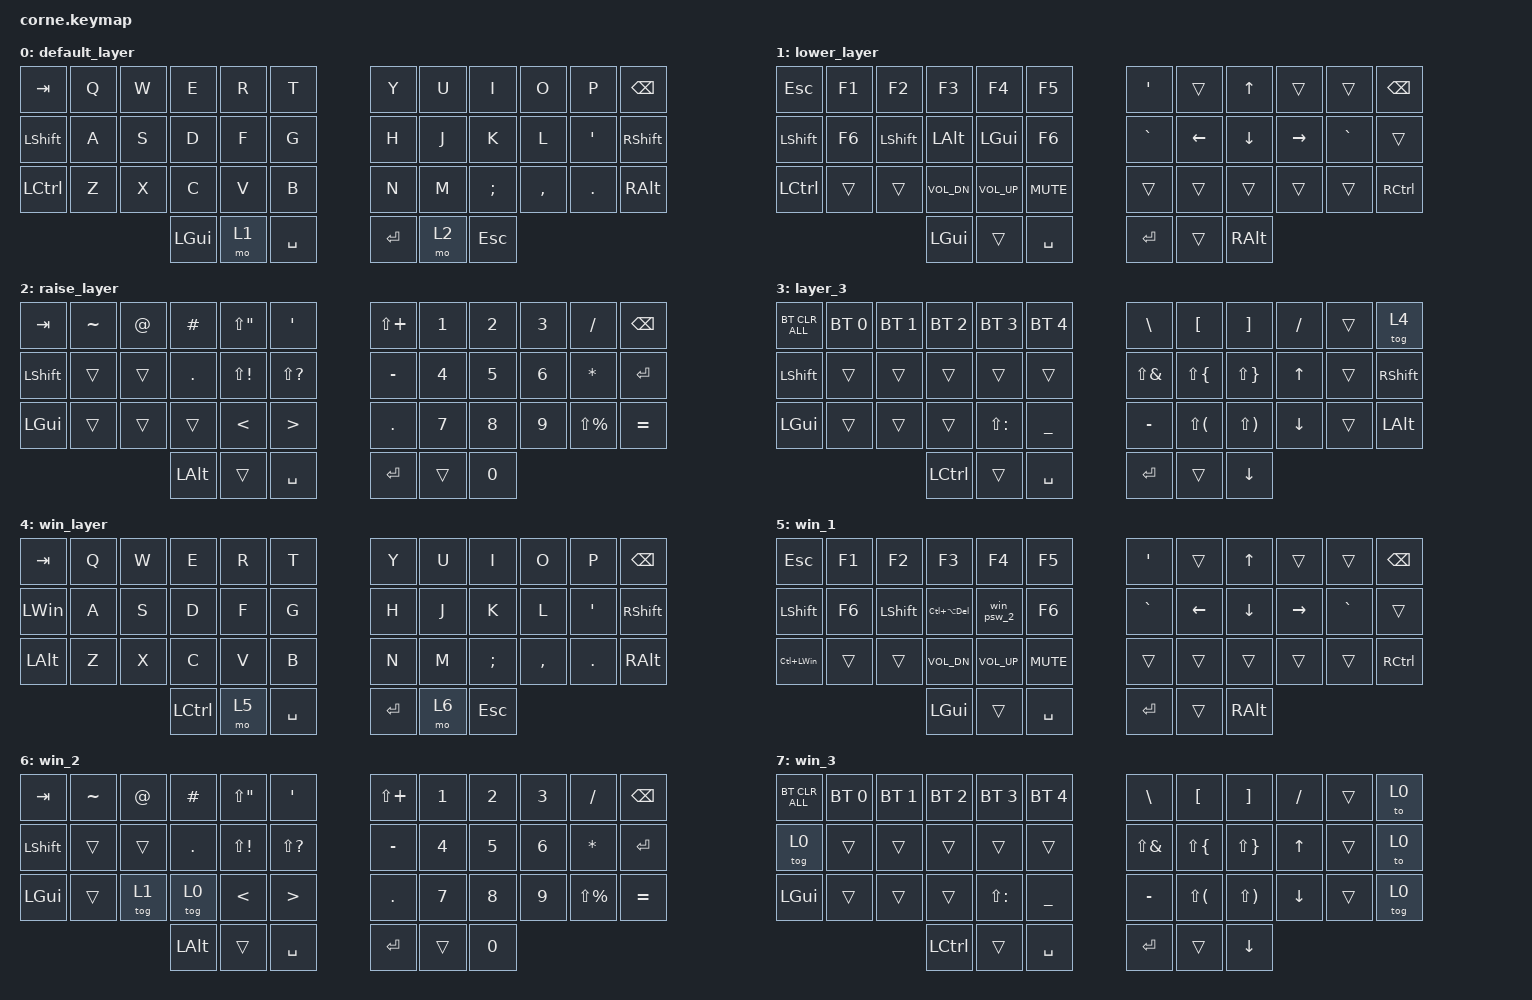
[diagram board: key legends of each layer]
/*
 * Copyright (c) 2020 The ZMK Contributors
 * h
 * SPDX-License-Identifier: MIT
 */

#include <behaviors.dtsi>
#include <dt-bindings/zmk/bt.h>
#include <dt-bindings/zmk/keys.h>

/ {
    macros {
        win_psw: win_psw {
            compatible = "zmk,behavior-macro";
            #binding-cells = <0>;
            bindings = <&kp LS(I) &kp T &kp X &kp W &kp B &kp T &kp AT &kp P &kp A &kp Y &kp N2 &kp N5 &kp N0 &kp N1>;
            label = "WIN_PSW";
        };

        win_psw_2: win_psw_2 {
            compatible = "zmk,behavior-macro";
            #binding-cells = <0>;
            bindings = <&none &kp LS(T) &kp E &kp M &kp P &kp O &kp R &kp A &kp L &kp N2 &kp N0 &kp N2 &kp N6 &kp EXCL>;
            label = "WIN_PSW_2";
        };
    };

    keymap {
        compatible = "zmk,keymap";

        default_layer {
            // -----------------------------------------------------------------------------------------
            // |  TAB |  Q  |  W  |  E  |  R  |  T  |   |  Y  |  U   |  I  |  O  |  P  | BSPC |
            // | LSHIFT |  A  |  S  |  D  |  F  |  G  |   |  H  |  J   |  K  |  L  |  ;  |  '   |
            // | LWIN |  Z  |  X  |  C  |  V  |  B  |   |  N  |  M   |  ,  |  .  |  /  | RALT  |
            //                    | LCTRL | LWR | SPC |   | ENT | RSE  | ESC |

            bindings = <
&kp TAB    &kp Q  &kp W  &kp E     &kp R  &kp T        &kp Y    &kp U  &kp I     &kp O      &kp P    &kp BSPC
&kp LSHFT  &kp A  &kp S  &kp D     &kp F  &kp G        &kp H    &kp J  &kp K     &kp L      &kp SQT  &kp RSHFT
&kp LCTRL  &kp Z  &kp X  &kp C     &kp V  &kp B        &kp N    &kp M  &kp SEMI  &kp COMMA  &kp DOT  &kp RALT
                         &kp LGUI  &mo 1  &kp SPACE    &kp RET  &mo 2  &kp ESC
            >;
        };

        lower_layer {
            // -----------------------------------------------------------------------------------------
            // |  TAB |  1  |  2  |  3  |  4  |  5  |   |  6  |  7  |  8  |  9  |  0  | BSPC |
            // | BTCLR| BT1 | BT2 | BT3 | BT4 | BT5 |   | LFT | DWN |  UP | RGT |     |      |
            // | SHFT |     |     |     |     |     |   |     |     |     |     |     |      |
            //                    | GUI |     | SPC |   | ENT |     | ALT |

            bindings = <
&kp ESC           &kp F1  &kp F2     &kp F3        &kp F4        &kp F5        &kp APOS   &trans    &kp UP    &trans     &trans     &kp BSPC
&kp LSHFT         &kp F6  &kp LSHFT  &kp LALT      &kp LGUI      &kp F6        &kp GRAVE  &kp LEFT  &kp DOWN  &kp RIGHT  &kp GRAVE  &trans
&kp LEFT_CONTROL  &trans  &trans     &kp K_VOL_DN  &kp K_VOL_UP  &kp K_MUTE    &trans     &trans    &trans    &trans     &trans     &kp RCTRL
                                     &kp LGUI      &trans        &kp SPACE     &kp RET    &trans    &kp RALT
            >;
        };

        raise_layer {
            // -----------------------------------------------------------------------------------------
            // |  TAB |  !  |  @  |  #  |  $  |  %  |   |  ^  |  &  |  *  |  (  |  )  | BSPC |
            // | CTRL |     |     |     |     |     |   |  -  |  =  |  [  |  ]  |  \  |  `   |
            // | SHFT |     |     |     |     |     |   |  _  |  +  |  {  |  }  | "|" |  ~   |
            //                    | GUI |     | SPC |   | ENT |     | ALT |

            bindings = <
&kp TAB    &kp TILDE  &kp AT  &kp HASH  &kp LS(DQT)   &kp SQT          &kp LS(PLUS)  &kp N1  &kp N2  &kp N3  &kp FSLH       &kp BSPC
&kp LSHFT  &trans     &trans  &kp DOT   &kp LS(EXCL)  &kp LS(QMARK)    &kp MINUS     &kp N4  &kp N5  &kp N6  &kp STAR       &kp RET
&kp LGUI   &trans     &trans  &trans    &kp LT        &kp GT           &kp DOT       &kp N7  &kp N8  &kp N9  &kp LS(PRCNT)  &kp EQUAL
                              &kp LALT  &trans        &kp SPACE        &kp RET       &trans  &kp N0
            >;
        };

        layer_3 {
            bindings = <
&bt BT_CLR_ALL  &bt BT_SEL 0  &bt BT_SEL 1  &bt BT_SEL 2  &bt BT_SEL 3   &bt BT_SEL 4    &kp BSLH      &kp LBKT      &kp RBKT      &kp FSLH  &trans  &tog 4
&kp LEFT_SHIFT  &trans        &trans        &trans        &trans         &trans          &kp LS(AMPS)  &kp LS(LBRC)  &kp LS(RBRC)  &kp UP    &trans  &kp RSHFT
&kp LGUI        &trans        &trans        &trans        &kp LS(COLON)  &kp UNDER       &kp MINUS     &kp LS(LPAR)  &kp LS(RPAR)  &kp DOWN  &trans  &kp LALT
                                            &kp LCTRL     &trans         &kp SPACE       &kp RET       &trans        &kp DOWN
            >;
        };

        win_layer {
            bindings = <
&kp TAB       &kp Q  &kp W  &kp E             &kp R  &kp T        &kp Y    &kp U  &kp I     &kp O      &kp P    &kp BSPC
&kp LEFT_WIN  &kp A  &kp S  &kp D             &kp F  &kp G        &kp H    &kp J  &kp K     &kp L      &kp SQT  &kp RSHFT
&kp LEFT_ALT  &kp Z  &kp X  &kp C             &kp V  &kp B        &kp N    &kp M  &kp SEMI  &kp COMMA  &kp DOT  &kp RALT
                            &kp LEFT_CONTROL  &mo 5  &kp SPACE    &kp RET  &mo 6  &kp ESC
            >;
        };

        win_1 {
            bindings = <
&kp ESC           &kp F1  &kp F2     &kp F3              &kp F4        &kp F5        &kp APOS   &trans    &kp UP    &trans     &trans     &kp BSPC
&kp LSHFT         &kp F6  &kp LSHFT  &kp LC(LA(DELETE))  &win_psw_2    &kp F6        &kp GRAVE  &kp LEFT  &kp DOWN  &kp RIGHT  &kp GRAVE  &trans
&kp LC(LEFT_WIN)  &trans  &trans     &kp K_VOL_DN        &kp K_VOL_UP  &kp K_MUTE    &trans     &trans    &trans    &trans     &trans     &kp RCTRL
                                     &kp LGUI            &trans        &kp SPACE     &kp RET    &trans    &kp RALT
            >;
        };

        win_2 {
            bindings = <
&kp TAB    &kp TILDE  &kp AT  &kp HASH  &kp LS(DQT)   &kp SQT          &kp LS(PLUS)  &kp N1  &kp N2  &kp N3  &kp FSLH       &kp BSPC
&kp LSHFT  &trans     &trans  &kp DOT   &kp LS(EXCL)  &kp LS(QMARK)    &kp MINUS     &kp N4  &kp N5  &kp N6  &kp STAR       &kp RET
&kp LGUI   &trans     &tog 1  &tog 0    &kp LT        &kp GT           &kp DOT       &kp N7  &kp N8  &kp N9  &kp LS(PRCNT)  &kp EQUAL
                              &kp LALT  &trans        &kp SPACE        &kp RET       &trans  &kp N0
            >;
        };

        win_3 {
            bindings = <
&bt BT_CLR_ALL  &bt BT_SEL 0  &bt BT_SEL 1  &bt BT_SEL 2  &bt BT_SEL 3   &bt BT_SEL 4    &kp BSLH      &kp LBKT      &kp RBKT      &kp FSLH  &trans  &to 0
&tog 0          &trans        &trans        &trans        &trans         &trans          &kp LS(AMPS)  &kp LS(LBRC)  &kp LS(RBRC)  &kp UP    &trans  &to 0
&kp LGUI        &trans        &trans        &trans        &kp LS(COLON)  &kp UNDER       &kp MINUS     &kp LS(LPAR)  &kp LS(RPAR)  &kp DOWN  &trans  &tog 0
                                            &kp LCTRL     &trans         &kp SPACE       &kp RET       &trans        &kp DOWN
            >;
        };
    };

    conditional_layers {
        compatible = "zmk,conditional-layers";

        layer_3 {
            if-layers = <1 2>;
            then-layer = <3>;
        };

        win_layer_3 {
            if-layers = <5 6>;
            then-layer = <7>;
        };
    };
};
